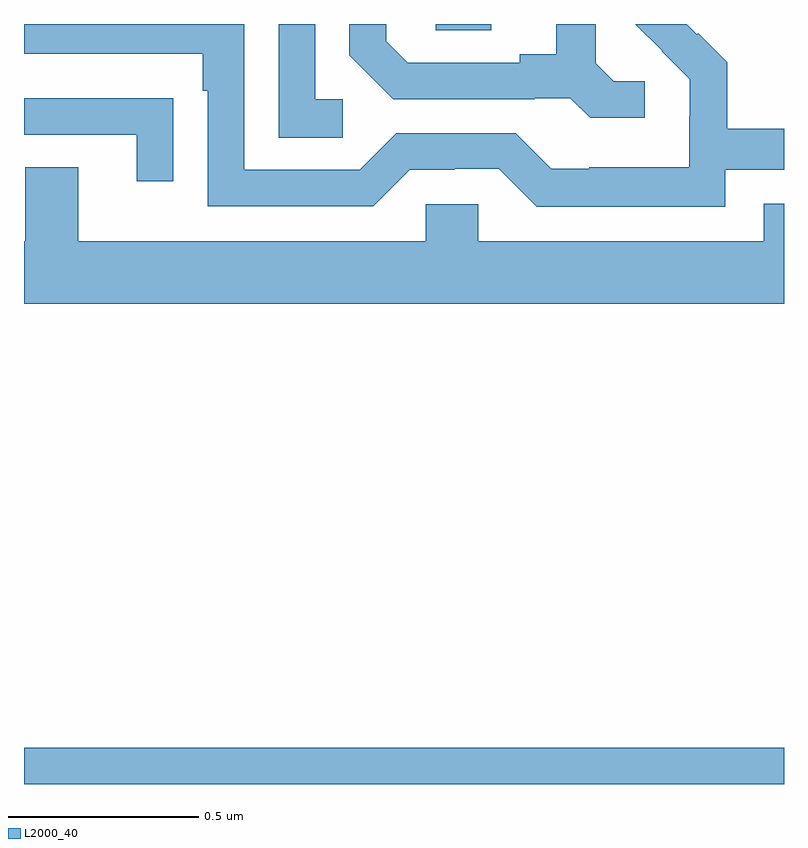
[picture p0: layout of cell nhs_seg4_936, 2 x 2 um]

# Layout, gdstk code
import gdstk
lib = gdstk.Library(unit=1e-6, precision=1e-09)
def R(c, l, rs):  # rectangles x0, y0, x1, y1
    for r in rs: c.add(gdstk.rectangle(r[:2], r[2:], *l))
def P(c, l, *ps):  # polygons
    for p in ps: c.add(gdstk.Polygon(p, *l))
L2000_40 = (2000, 40)

nhs_seg4_936 = lib.new_cell('nhs_seg4_936')
R(nhs_seg4_936, L2000_40, [(122,784.9,124,784.996), (123.084,786.883,123.229,786.9)])
P(nhs_seg4_936, L2000_40, [(122.839,786.702),(122.766,786.702),(122.766,786.9),(122.67,786.9),(122.67,786.601),(122.839,786.601)],
  [(123.846,786.516),(124,786.516),(124,786.625),(123.851,786.625),(123.851,786.799),(123.774,786.876),(123.771,786.873),(123.744,786.9),(123.608,786.9),(123.679,786.829),(123.678,786.828),(123.752,786.754),(123.752,786.657),(123.75,786.657),(123.75,786.523),(123.487,786.523),(123.487,786.519),(123.387,786.519),(123.294,786.612),(122.979,786.612),(122.883,786.516),(122.58,786.516),(122.58,786.9),(122,786.9),(122,786.822),(122.471,786.822),(122.471,786.725),(122.484,786.725),(122.484,786.42),(122.919,786.42),(123.015,786.516),(123.134,786.516),(123.134,786.519),(123.249,786.519),(123.349,786.419),(123.846,786.419)],
  [(123.634,786.75),(123.552,786.75),(123.505,786.797),(123.505,786.9),(123.401,786.9),(123.401,786.821),(123.305,786.821),(123.305,786.798),(123.01,786.798),(122.953,786.855),(122.953,786.9),(122.856,786.9),(122.856,786.818),(122.972,786.702),(123.344,786.702),(123.344,786.705),(123.438,786.705),(123.49,786.653),(123.634,786.653)],
  [(122.393,786.704),(122.291,786.704),(122.291,786.705),(122,786.705),(122,786.609),(122.297,786.609),(122.297,786.486),(122.393,786.486)],
  [(124,786.427),(123.947,786.427),(123.947,786.328),(123.195,786.328),(123.195,786.426),(123.057,786.426),(123.057,786.328),(122.143,786.328),(122.143,786.523),(122.003,786.523),(122.003,786.328),(122,786.328),(122,786.164),(124,786.164)])

lib.write_gds('nhs_seg4_936.gds')
